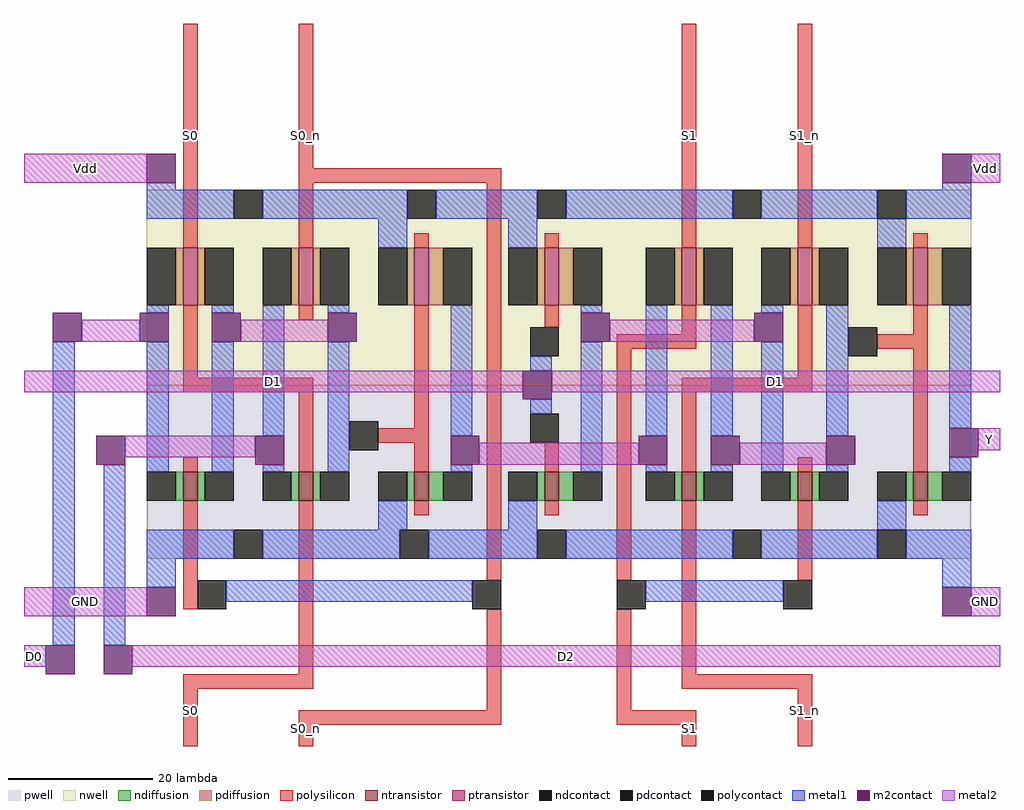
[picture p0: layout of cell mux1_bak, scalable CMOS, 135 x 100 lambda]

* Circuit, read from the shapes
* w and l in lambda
.subckt mux1_bak D0 D1 D2 GND S0 S0_n S1 S1_n Vdd Y
M1 n1 S0_n D0 VSUBS nfet w=4 l=2
M2 n1 S0 D2 VSUBS nfet w=4 l=2
M3 n2 n1 GND VSUBS nfet w=4 l=2
M4 n3 D1 GND VSUBS nfet w=4 l=2
M5 n4 S1_n n2 VSUBS nfet w=4 l=2
M6 n4 S1 n3 VSUBS nfet w=4 l=2
M7 Y n4 GND VSUBS nfet w=4 l=2
M8 n1 S0 D0 n5 pfet w=8 l=2
M9 n1 S0_n D2 n5 pfet w=8 l=2
M10 n2 n1 Vdd n5 pfet w=8 l=2
M11 n3 D1 Vdd n5 pfet w=8 l=2
M12 n4 S1 n2 n5 pfet w=8 l=2
M13 n4 S1_n n3 n5 pfet w=8 l=2
M14 Y n4 Vdd n5 pfet w=8 l=2
.ends

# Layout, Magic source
magic
tech scmos
<< pwell >>
rect -54 28 60 52
<< nwell >>
rect -54 52 60 79
<< polysilicon >>
rect -49 71 -47 102
rect -33 82 -31 102
rect -33 80 -5 82
rect -33 71 -31 80
rect -17 71 -15 73
rect -49 53 -47 63
rect -33 61 -31 63
rect -49 51 -31 53
rect -49 40 -47 42
rect -33 40 -31 51
rect -17 46 -15 63
rect -22 44 -15 46
rect -17 40 -15 44
rect -49 21 -47 36
rect -33 12 -31 36
rect -17 34 -15 36
rect -7 25 -5 80
rect 1 71 3 73
rect 20 71 22 102
rect 36 71 38 102
rect 52 71 54 73
rect 1 60 3 63
rect 20 59 22 63
rect 11 57 22 59
rect 1 40 3 44
rect 1 34 3 36
rect -49 10 -31 12
rect -49 2 -47 10
rect -7 7 -5 21
rect -33 5 -5 7
rect 11 25 13 57
rect 36 53 38 63
rect 52 59 54 63
rect 47 57 54 59
rect 20 51 38 53
rect 20 40 22 51
rect 36 40 38 42
rect 52 40 54 57
rect 11 7 13 21
rect 20 12 22 36
rect 36 25 38 36
rect 52 34 54 36
rect 20 10 38 12
rect 11 5 22 7
rect -33 2 -31 5
rect 20 2 22 5
rect 36 2 38 10
<< ndiffusion >>
rect -50 36 -49 40
rect -47 36 -46 40
rect -34 36 -33 40
rect -31 36 -30 40
rect -18 36 -17 40
rect -15 36 -13 40
rect 0 36 1 40
rect 3 36 5 40
rect 19 36 20 40
rect 22 36 23 40
rect 35 36 36 40
rect 38 36 39 40
rect 51 36 52 40
rect 54 36 56 40
<< pdiffusion >>
rect -50 63 -49 71
rect -47 63 -46 71
rect -34 63 -33 71
rect -31 63 -30 71
rect -18 63 -17 71
rect -15 63 -13 71
rect 0 63 1 71
rect 3 63 5 71
rect 19 63 20 71
rect 22 63 23 71
rect 35 63 36 71
rect 38 63 39 71
rect 51 63 52 71
rect 54 63 56 71
<< metal1 >>
rect -54 79 -50 80
rect 56 79 60 80
rect -54 75 -42 79
rect -38 75 -18 79
rect -14 75 0 79
rect 4 75 27 79
rect 31 75 47 79
rect 51 75 60 79
rect -22 71 -18 75
rect -4 71 0 75
rect 47 71 51 75
rect -54 62 -51 63
rect -67 16 -64 58
rect -60 16 -57 41
rect -54 40 -51 58
rect -45 62 -42 63
rect -45 40 -42 58
rect -38 45 -35 63
rect -38 40 -35 41
rect -29 62 -26 63
rect -29 40 -26 58
rect -12 45 -9 63
rect 6 62 9 63
rect -1 54 2 56
rect -1 48 2 50
rect -12 40 -9 41
rect 6 40 9 58
rect 15 45 18 63
rect 15 40 18 41
rect 24 45 27 63
rect 31 62 34 63
rect 24 40 27 41
rect 31 40 34 58
rect 40 45 43 63
rect 57 46 60 63
rect 40 40 43 41
rect 57 40 60 42
rect -22 32 -18 36
rect -4 32 0 36
rect 47 32 51 36
rect -54 28 -42 32
rect -38 28 -19 32
rect -15 28 0 32
rect 4 28 27 32
rect 31 28 47 32
rect 51 28 60 32
rect -54 24 -50 28
rect -43 22 -9 25
rect 15 22 34 25
rect 56 24 60 28
<< metal2 >>
rect -71 80 -54 84
rect 60 80 64 84
rect -63 58 -55 61
rect -41 58 -29 61
rect 10 58 30 61
rect -71 51 -2 54
rect 2 51 64 54
rect -57 42 -39 45
rect -8 41 14 44
rect 28 41 40 44
rect 61 43 64 46
rect -71 20 -54 24
rect 60 20 64 24
rect -71 13 -68 16
rect -56 13 64 16
<< ntransistor >>
rect -49 36 -47 40
rect -33 36 -31 40
rect -17 36 -15 40
rect 1 36 3 40
rect 20 36 22 40
rect 36 36 38 40
rect 52 36 54 40
<< ptransistor >>
rect -49 63 -47 71
rect -33 63 -31 71
rect -17 63 -15 71
rect 1 63 3 71
rect 20 63 22 71
rect 36 63 38 71
rect 52 63 54 71
<< polycontact >>
rect -26 43 -22 47
rect -47 21 -43 25
rect -1 56 3 60
rect -1 44 3 48
rect -9 21 -5 25
rect 43 56 47 60
rect 11 21 15 25
rect 34 21 38 25
<< ndcontact >>
rect -54 36 -50 40
rect -46 36 -42 40
rect -38 36 -34 40
rect -30 36 -26 40
rect -22 36 -18 40
rect -13 36 -9 40
rect -42 28 -38 32
rect -19 28 -15 32
rect -4 36 0 40
rect 5 36 9 40
rect 0 28 4 32
rect 15 36 19 40
rect 23 36 27 40
rect 31 36 35 40
rect 39 36 43 40
rect 47 36 51 40
rect 56 36 60 40
rect 27 28 31 32
rect 47 28 51 32
<< pdcontact >>
rect -42 75 -38 79
rect -18 75 -14 79
rect -54 63 -50 71
rect -46 63 -42 71
rect -38 63 -34 71
rect -30 63 -26 71
rect -22 63 -18 71
rect -13 63 -9 71
rect 0 75 4 79
rect 27 75 31 79
rect 47 75 51 79
rect -4 63 0 71
rect 5 63 9 71
rect 15 63 19 71
rect 23 63 27 71
rect 31 63 35 71
rect 39 63 43 71
rect 47 63 51 71
rect 56 63 60 71
<< m2contact >>
rect -54 80 -50 84
rect 56 80 60 84
rect -67 58 -63 62
rect -55 58 -51 62
rect -61 41 -57 45
rect -68 12 -64 16
rect -45 58 -41 62
rect -39 41 -35 45
rect -29 58 -25 62
rect 6 58 10 62
rect -2 50 2 54
rect -12 41 -8 45
rect 14 41 18 45
rect 30 58 34 62
rect 24 41 28 45
rect 40 41 44 45
rect 57 42 61 46
rect -54 20 -50 24
rect 56 20 60 24
rect -60 12 -56 16
<< labels >>
rlabel polysilicon -49 71 -47 102 1 S0
rlabel polysilicon -33 71 -31 102 1 S0_n
rlabel polysilicon 20 71 22 102 1 S1
rlabel polysilicon 36 71 38 102 1 S1_n
rlabel polysilicon -49 2 -47 12 5 S0
rlabel polysilicon -33 2 -31 7 5 S0_n
rlabel polysilicon 20 2 22 7 5 S1
rlabel polysilicon 36 2 38 12 5 S1_n
rlabel metal2 -71 80 -54 84 7 Vdd
rlabel metal2 60 80 64 84 3 Vdd
rlabel metal2 -71 20 -54 24 7 GND
rlabel metal2 60 20 64 24 3 GND
rlabel metal2 -71 51 -2 54 7 D1
rlabel metal2 -71 13 -68 16 7 D0
rlabel metal2 -56 13 64 16 3 D2
rlabel metal2 61 43 64 46 3 Y
rlabel metal2 2 51 64 54 3 D1
<< end >>
